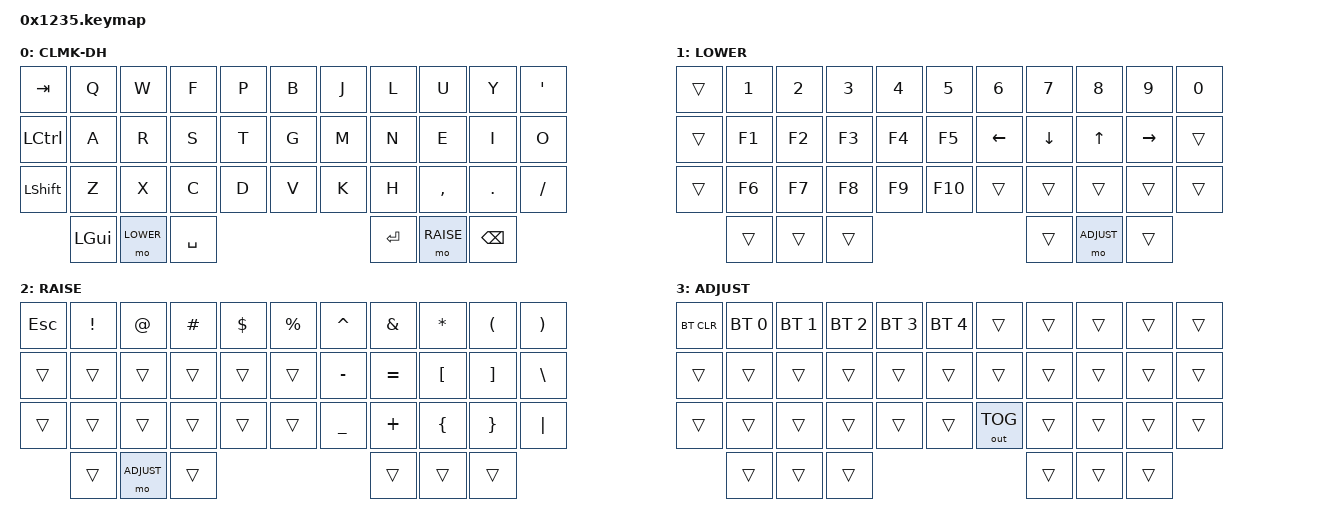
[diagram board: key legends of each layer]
#include <behaviors.dtsi>
#include <dt-bindings/zmk/keys.h>
#include <dt-bindings/zmk/bt.h>
#include <dt-bindings/zmk/outputs.h>

#define COLEMAK 0
#define LOWER   1
#define RAISE   2
#define ADJUST  3

/ {
    keymap {
        compatible = "zmk,keymap";

        colemak_layer {
            display-name = "CLMK-DH";
// -----------------------------------------------------------------------------------------
// |  TAB |  Q  |  W  |  F  |  P  |  B  |   |  J  |  L  |  U  |  Y  |  '  |
// | CTRL |  A  |  R  |  S  |  T  |  G  |   |  M  |  N  |  E  |  I  |  O  |
// | SHFT |  Z  |  X  |  C  |  D  |  V  |   |  K  |  H  |  ,  |  .  |  /  |
//                    | GUI | LWR | SPC |   | ENT | RSE | BSPC|
            bindings = <
    &kp TAB   &kp Q &kp W &kp F &kp P &kp B   &kp J &kp L  &kp U     &kp Y   &kp APOS
    &kp LCTRL &kp A &kp R &kp S &kp T &kp G   &kp M &kp N  &kp E     &kp I   &kp O
    &kp LSHFT &kp Z &kp X &kp C &kp D &kp V   &kp K &kp H  &kp COMMA &kp DOT &kp FSLH
                &kp LGUI &mo LOWER &kp SPACE   &kp RET &mo RAISE &kp BSPC
            >;
        };

        lower_layer {
            display-name = "LOWER";
// -----------------------------------------------------------------------------------------
// |      |  1  |  2  |  3  |  4  |  5  |   |  6  |  7  |  8  |  9  |  0  |
// |      | F1  | F2  | F3  | F4  | F5  |   | LFT | DWN |  UP | RGT |     |
// |      | F6  | F7  | F8  | F9  | F10 |   |     |     |     |     |     |
//                    |     |     |     |   |     |     |     |
            bindings = <
    &trans    &kp N1       &kp N2       &kp N3       &kp N4       &kp N5         &kp N6   &kp N7   &kp N8 &kp N9    &kp N0
    &trans    &kp F1       &kp F2       &kp F3       &kp F4       &kp F5         &kp LEFT &kp DOWN &kp UP &kp RIGHT &trans
    &trans    &kp F6       &kp F7       &kp F8       &kp F9       &kp F10        &trans   &trans   &trans &trans    &trans
                                        &trans     &trans       &trans           &trans   &mo ADJUST    &trans
            >;
        };

        raise_layer {
            display-name = "RAISE";
// -----------------------------------------------------------------------------------------
// |  ESC |  !  |  @  |  #  |  $  |  %  |   |  ^  |  &  |  *  |  (  |  )  |
// |      |     |     |     |     |     |   |  -  |  =  |  [  |  ]  |  \  |
// |      |     |     |     |     |     |   |  _  |  +  |  {  |  }  | "|" |
//                    |     |     |     |   |     |     |     |
            bindings = <
    &kp ESC  &kp EXCL &kp AT &kp HASH &kp DLLR &kp PRCNT   &kp CARET &kp AMPS  &kp ASTRK &kp LPAR &kp RPAR
    &trans   &trans   &trans &trans   &trans   &trans      &kp MINUS &kp EQUAL &kp LBKT  &kp RBKT &kp BSLH
    &trans   &trans   &trans &trans   &trans   &trans      &kp UNDER &kp PLUS  &kp LBRC  &kp RBRC &kp PIPE
                        &trans      &mo ADJUST    &trans      &trans    &trans     &trans
            >;
        };

        adjust_layer {
            display-name = "ADJUST";
// -----------------------------------------------------------------------------------------
// | BTCLR| BT1 | BT2 | BT3 | BT4 | BT5 |   |     |     |     |     |     |
// |      |     |     |     |     |     |   |     |     |     |     |     |
// |      |     |     |     |     |     |   | OUT_TOG |     |     |     |     |
//                    |     |     |     |   |     |     |     |
            bindings = <
    &bt BT_CLR &bt BT_SEL 0 &bt BT_SEL 1 &bt BT_SEL 2 &bt BT_SEL 3 &bt BT_SEL 4   &trans       &trans &trans &trans &trans
    &trans     &trans       &trans       &trans       &trans       &trans          &trans       &trans &trans &trans &trans
    &trans     &trans       &trans       &trans       &trans       &trans          &out OUT_TOG &trans &trans &trans &trans
                                         &trans       &trans       &trans          &trans       &trans &trans
            >;
        };
    };
};
